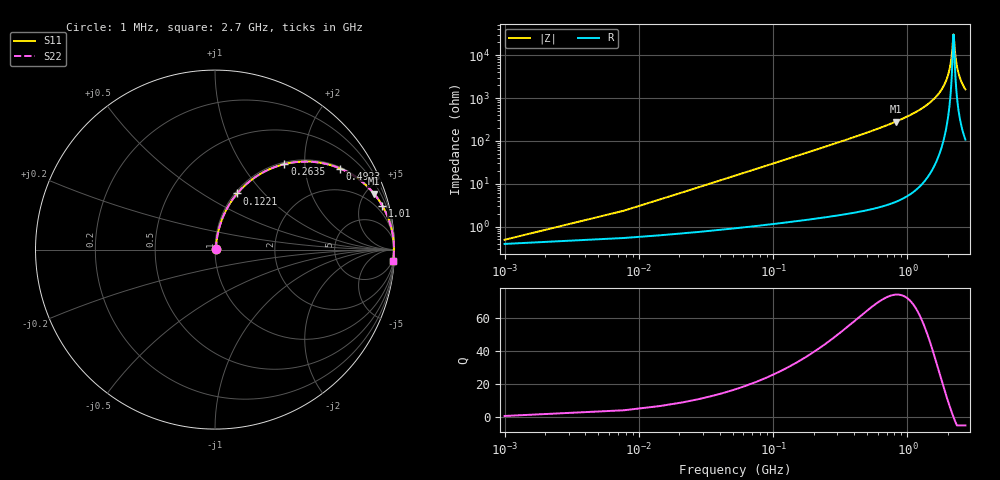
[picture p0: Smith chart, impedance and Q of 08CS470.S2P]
! Coilcraft 0805CS-470 Chip Inductor
! 11 June 2002
# MHZ S MA R 50
!Freq  MagS11  AngS11  MagS21  AngS21  MagS12  AngS12  MagS22  AngS22
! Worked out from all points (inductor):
!   403 points, 1 MHz to 2.7 GHz, reference 50 ohm
!   read as one part in series: L = 47 nH near 14.46 MHz
!   highest Q = 74.5 at 822.1 MHz (marker M1), where L = 54.6 nH
!   self-resonance near 2.202 GHz
!   S11 on the Smith chart (normalised r, x): 1 MHz: 1.01, +0.01; 122.1 MHz: 1.02, +0.72; 263.5 MHz: 1.03, +1.58; 492.3 MHz: 1.05, +3.06; 1.01 GHz: 1.11, +7.56; 2.7 GHz: 3, -32
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1  0.004897 36.7  0.9961 -0.2  0.9961 -0.2  0.004897 36.7
21.19  0.06241 80.1  0.9912 -3.6  0.9912 -3.6  0.06241 80.1
34.65  0.1013 79.7  0.987 -5.8  0.987 -5.8  0.1013 79.7
68.3  0.1963 75.9  0.9709 -11.3  0.9709 -11.3  0.1963 75.9
122.14  0.3367 68.4  0.9302 -19.7  0.9302 -19.7  0.3367 68.4
263.47  0.6133 50.9  0.7768 -37.8  0.7768 -37.8  0.6133 50.9
451.91  0.8063 35.4  0.5787 -53.7  0.5787 -53.7  0.8063 35.4
492.29  0.8312 32.9  0.5432 -56.2  0.5432 -56.2  0.8312 32.9
822.06  0.9385 19.4  0.3328 -69.8  0.3328 -69.8  0.9385 19.4
902.82  0.9509 17.3  0.2968 -72.0  0.2968 -72.0  0.9509 17.3
1010.5  0.9634 14.8  0.2549 -74.4  0.2549 -74.4  0.9634 14.8
1353.73  0.9853 8.8  0.1535 -80.1  0.1535 -80.1  0.9853 8.8
1804.64  0.9953 3.5  0.06156 -83.8  0.06156 -83.8  0.9953 3.5
1952.7  0.9964 2.1  0.03723 -83.3  0.03723 -83.3  0.9964 2.1
2060.38  0.9967 1.2  0.02084 -80.3  0.02084 -80.3  0.9967 1.2
2127.68  0.9968 0.6  0.01121 -73.0  0.01121 -73.0  0.9968 0.6
2201.71  0.9967 0.0  0.003281 -4.8  0.003281 -4.8  0.9967 0.0
2215.17  0.9967 -0.1  0.003653 25.7  0.003653 25.7  0.9967 -0.1
2255.55  0.9966 -0.4  0.007871 64.4  0.007871 64.4  0.9966 -0.4
2316.12  0.9964 -0.9  0.01562 76.4  0.01562 76.4  0.9964 -0.9
2403.61  0.996 -1.5  0.02685 80.8  0.02685 80.8  0.996 -1.5
2700  0.9938 -3.6  0.06258 82.6  0.06258 82.6  0.9938 -3.6
